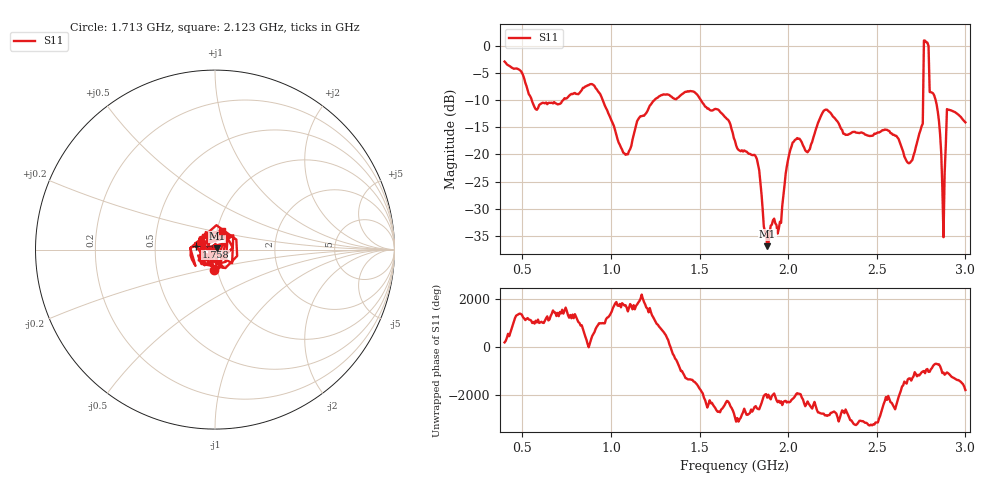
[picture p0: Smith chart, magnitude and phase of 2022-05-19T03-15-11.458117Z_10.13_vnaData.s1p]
!Created with skrf (http://scikit-rf.org).
# Hz S RI R 50.0
!freq ReS11 ImS11
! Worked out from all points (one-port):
!   401 points, 400 MHz to 3 GHz, reference 50 ohm
!   lowest |S11| = -36.9 dB at 1.882 GHz (marker M1), VSWR 1.03, Z = 51.2 + j0.811 ohm
!   |S11| at or under -10 dB: 553.5 MHz to 729.1 MHz (175.7 MHz wide, 27.4 % of centre); 953.8 MHz to 1.244 GHz (290.6 MHz wide, 26.4 % of centre); 1.508 GHz to 2.761 GHz (1.253 GHz wide, 58.7 % of centre) (the widest 3 of 4)
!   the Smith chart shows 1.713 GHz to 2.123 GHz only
!   S11 on the Smith chart (normalised r, x): 1.713 GHz: 0.96, -0.22; 1.758 GHz: 0.81, +0.03; 2.123 GHz: 1.06, +0.22
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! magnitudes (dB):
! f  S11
! 400 MHz  -2.9
! 575.5 MHz  -11.6
! 725 MHz  -10.1
! 900.5 MHz  -7.2
! 1.05 GHz  -18.2
! 1.095 GHz  -20.0
! 1.258 GHz  -9.6
! 1.375 GHz  -9.6
! 1.472 GHz  -8.5
! 1.7 GHz  -17.5
! 1.713 GHz  -18.9
! 1.758 GHz  -19.4
! 1.823 GHz  -20.9
! 1.882 GHz  -36.9
! 1.954 GHz  -32.4
! 2.025 GHz  -17.8
! 2.123 GHz  -19.0
! 2.207 GHz  -11.8
! 2.35 GHz  -16.2
! 2.558 GHz  -15.4
! 2.675 GHz  -21.5
! 2.747 GHz  -15.5
! 2.779 GHz  0.7
! 2.844 GHz  -12.0
! 2.87 GHz  -26.2
! 2.883 GHz  -23.4
! 2.909 GHz  -11.8
! 3 GHz  -14.1
